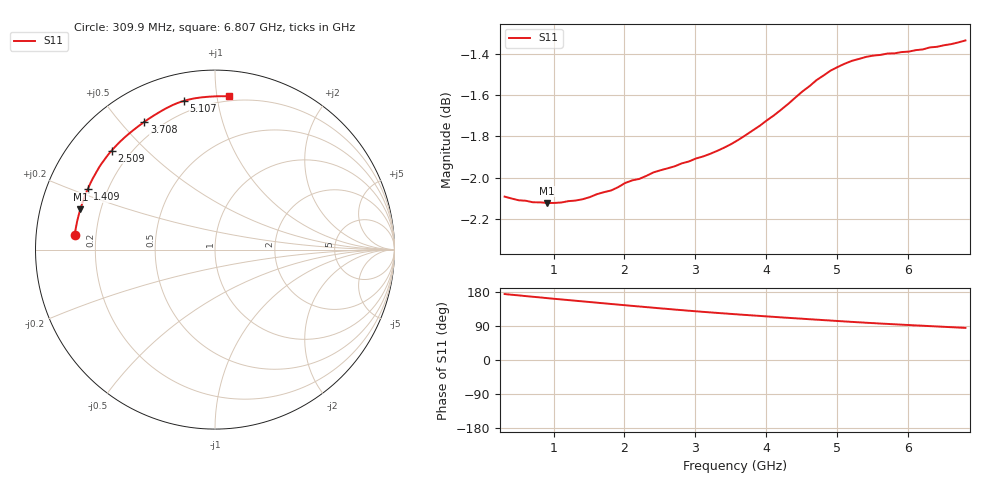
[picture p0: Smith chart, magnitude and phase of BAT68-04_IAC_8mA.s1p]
! Infineon Technologies  Discrete & RF Semiconductors
! BAT68-04
! IAC = 8 mA
! One-Port S-Parameters
# Hz  S  MA  R  50
!f  S11
!Hz  Mag  Ang
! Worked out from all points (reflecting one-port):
!   66 points, 309.9 MHz to 6.807 GHz, reference 50 ohm
!   lowest |S11| = -2.1 dB at 909.5 MHz (marker M1), VSWR 8.22, Z = 6.21 + j7.22 ohm
!   phase of S11 starts at 174 deg and turns -89 deg over the sweep
!   S11 on the Smith chart (normalised r, x): 309.9 MHz: 0.12, +0.05; 1.409 GHz: 0.13, +0.22; 2.509 GHz: 0.13, +0.40; 3.708 GHz: 0.14, +0.58; 5.107 GHz: 0.14, +0.80; 6.807 GHz: 0.17, +1.08
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3.0985e8  0.7859 174.0
6.097e8  0.7841 168.6
9.0955e8  0.7831 163.3
1.0095e9  0.7832 161.5
1.2094e9  0.7839 158.1
1.4093e9  0.7848 154.6
1.6092e9  0.787 151.2
2.009e9  0.7919 144.5
2.2089e9  0.7937 141.2
2.4088e9  0.7966 137.9
2.50875e9  0.7976 136.3
2.8086e9  0.8007 131.6
3.10845e9  0.8038 127.1
3.30835e9  0.8063 124.2
3.6082e9  0.8113 120.2
3.70815e9  0.8134 118.9
4.008e9  0.8202 115.0
4.4078e9  0.8307 110.1
4.70765e9  0.8389 106.5
4.90755e9  0.8434 104.1
5.10745e9  0.8466 101.7
5.2074e9  0.848 100.6
5.4073e9  0.8499 98.3
5.50725e9  0.8505 97.3
5.6072e9  0.8508 96.2
6.007e9  0.8524 92.3
6.30685e9  0.8544 89.4
6.8066e9  0.8577 84.7
